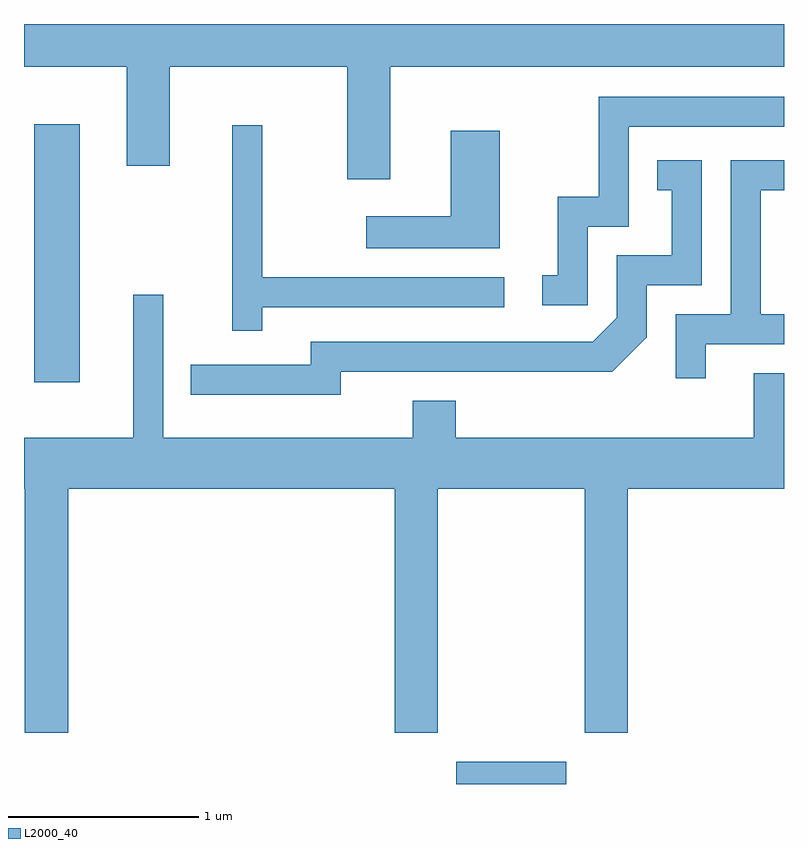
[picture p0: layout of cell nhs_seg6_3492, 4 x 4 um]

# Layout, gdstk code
import gdstk
lib = gdstk.Library(unit=1e-6, precision=1e-09)
def R(c, l, rs):  # rectangles x0, y0, x1, y1
    for r in rs: c.add(gdstk.rectangle(r[:2], r[2:], *l))
def P(c, l, *ps):  # polygons
    for p in ps: c.add(gdstk.Polygon(p, *l))
L2000_40 = (2000, 40)

nhs_seg6_3492 = lib.new_cell('nhs_seg6_3492')
R(nhs_seg6_3492, L2000_40, [(291.886,1646.162,292.464,1646.279), (289.666,1648.276,289.904,1649.634)])
P(nhs_seg6_3492, L2000_40, [(291.539,1649.936),(293.611,1649.936),(293.611,1650.162),(289.611,1650.162),(289.611,1649.936),(290.151,1649.936),(290.151,1649.416),(290.379,1649.416),(290.379,1649.936),(291.311,1649.936),(291.311,1649.346),(291.539,1649.346)],
  [(292.579,1649.096),(292.794,1649.096),(292.794,1649.621),(293.611,1649.621),(293.611,1649.779),(292.636,1649.779),(292.636,1649.254),(292.421,1649.254),(292.421,1648.839),(292.338,1648.839),(292.338,1648.681),(292.579,1648.681)],
  [(290.864,1648.671),(292.138,1648.671),(292.138,1648.829),(290.864,1648.829),(290.864,1649.628),(290.706,1649.628),(290.706,1648.548),(290.864,1648.548)],
  [(292.114,1649.599),(291.856,1649.599),(291.856,1649.149),(291.413,1649.149),(291.413,1648.981),(292.114,1648.981)],
  [(293.199,1648.476),(293.611,1648.476),(293.611,1648.634),(293.489,1648.634),(293.489,1649.286),(293.611,1649.286),(293.611,1649.444),(293.331,1649.444),(293.331,1648.634),(293.041,1648.634),(293.041,1648.298),(293.199,1648.298)],
  [(291.279,1648.331),(292.707,1648.331),(292.889,1648.514),(292.889,1648.786),(293.179,1648.786),(293.179,1649.444),(292.943,1649.444),(292.943,1649.286),(293.021,1649.286),(293.021,1648.944),(292.731,1648.944),(292.731,1648.617),(292.604,1648.489),(291.121,1648.489),(291.121,1648.369),(290.488,1648.369),(290.488,1648.211),(291.279,1648.211)],
  [(289.844,1647.716),(291.561,1647.716),(291.561,1646.431),(291.789,1646.431),(291.789,1647.716),(292.561,1647.716),(292.561,1646.431),(292.789,1646.431),(292.789,1647.716),(293.611,1647.716),(293.611,1648.324),(293.451,1648.324),(293.451,1647.984),(291.884,1647.984),(291.884,1648.179),(291.656,1648.179),(291.656,1647.984),(290.344,1647.984),(290.344,1648.738),(290.186,1648.738),(290.186,1647.984),(289.611,1647.984),(289.611,1647.716),(289.616,1647.716),(289.616,1646.431),(289.844,1646.431)])

lib.write_gds('nhs_seg6_3492.gds')
